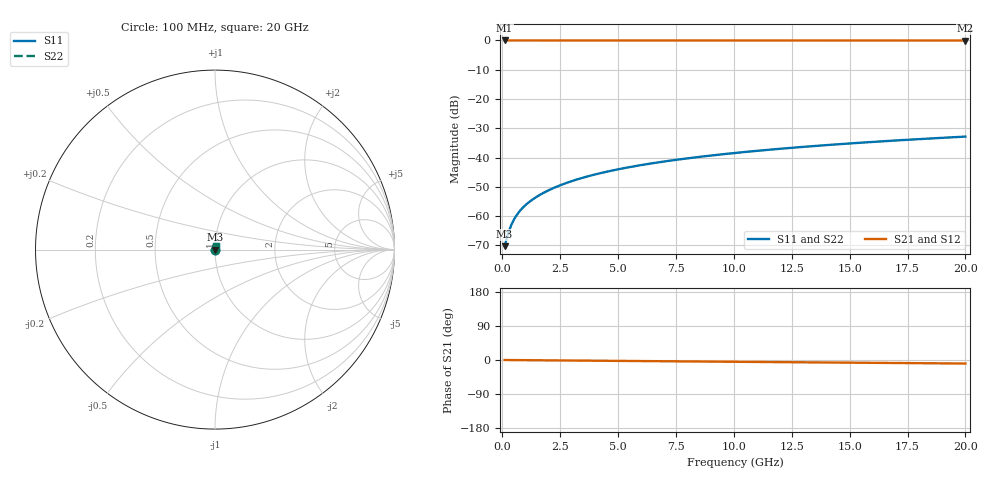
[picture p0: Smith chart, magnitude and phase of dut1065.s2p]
! Touchstone file exported from HFSS 2026.1.0
!  File:  C:/ffzhzh/LocalFiles/Ansys_Project_Files/temp_train_TSV_1065_1783189776_55132.aedt
!  Generated:  02:31:41 AM Jul  5, 2026
!  Design:  TSV
!  Project:  temp_train_TSV_1065_1783189776_55132
! Variables:
!  h_bsmrdl = 2um
!  h_ox = 20um
!  h_rdl = 5um
!  h_sub = 96.41um
!  h_tmrdl = 5um
!  h_tsv = 96.41um
!  h_via = 3um
!  l_bsmrdl = 300um
!  l_sub = 414.22um
!  l_tmrdl = 200um
!  m_sub = 200um
!  pitch = 34.67um
!  r_tsv = 7.11um
!  s_tmrdl = 10um
!  w_bsmrdl = 18um
!  w_sub = 500um
!  w_tmrdl = 12um
!  x_tsv_center1 = 206um
!  x_tsv_center2 = 524um
!  x_tsv_center3 = 736um
!  x_tsv_center4 = 1054um
!  x_tsv_center5 = 1266um
!  x_tsv_center6 = 1584um
# GHz S MA R 50.000000
! Terminal data exported
! Port[1] = TSV1_1_T1
! Port[2] = TSV1_1_T2
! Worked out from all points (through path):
!   200 points, 100 MHz to 20 GHz, reference 50 ohm
!   highest |S21| = 0.00 dB at 100 MHz (marker M1); lowest = 0.0 dB at 20 GHz (marker M2)
!   group delay of S21, straight-line fit = 1.29 ps
!   lowest |S11| = -70.3 dB at 100 MHz (marker M3), VSWR 1.00, Z = 50 + j0.0168 ohm
!   |S11| at or under -10 dB: start of sweep to end of sweep
!   |S22| runs from -70.3 to -32.8 dB; largest |S21 - S12| = 3.9e-15
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0.1  0.0003071 33.2  0.9997 -0.0  0.9997 -0.0  0.0003071 33.2
! Gamma 0 0 0 0
! Port Impedance 50 0 50 0
0.2  0.0004292 50.9  0.9997 -0.1  0.9997 -0.1  0.0004292 50.9
0.3  0.0005731 59.5  0.9997 -0.1  0.9997 -0.1  0.0005731 59.5
0.4  0.0007212 64.0  0.9997 -0.2  0.9997 -0.2  0.0007212 64.0
0.5  0.0008675 66.5  0.9997 -0.2  0.9997 -0.2  0.0008675 66.5
0.6  0.00101 68.2  0.9996 -0.3  0.9996 -0.3  0.00101 68.2
0.7  0.001148 69.4  0.9996 -0.3  0.9996 -0.3  0.001148 69.4
0.8  0.001282 70.3  0.9996 -0.4  0.9996 -0.4  0.001282 70.3
1  0.001541 71.6  0.9995 -0.5  0.9995 -0.5  0.001541 71.6
1.4  0.002038 73.6  0.9994 -0.7  0.9994 -0.7  0.002038 73.6
1.7  0.002402 74.8  0.9994 -0.8  0.9994 -0.8  0.002402 74.8
2  0.002765 75.7  0.9994 -1.0  0.9994 -1.0  0.002765 75.7
2.7  0.003605 77.1  0.9993 -1.3  0.9993 -1.3  0.003605 77.1
3.5  0.004556 78.0  0.9992 -1.7  0.9992 -1.7  0.004556 78.0
4.2  0.005379 78.4  0.9991 -2.0  0.9991 -2.0  0.005379 78.4
5  0.006307 78.7  0.999 -2.4  0.999 -2.4  0.006307 78.7
6.8  0.008359 78.9  0.9988 -3.2  0.9988 -3.2  0.008359 78.9
8.3  0.01004 78.8  0.9987 -3.9  0.9987 -3.9  0.01004 78.8
10.1  0.01204 78.6  0.9985 -4.7  0.9985 -4.7  0.01204 78.6
13.4  0.01568 77.9  0.9983 -6.3  0.9983 -6.3  0.01568 77.9
16.7  0.01927 76.9  0.998 -7.8  0.998 -7.8  0.01927 76.9
20  0.02281 75.7  0.9978 -9.3  0.9978 -9.3  0.02281 75.7
